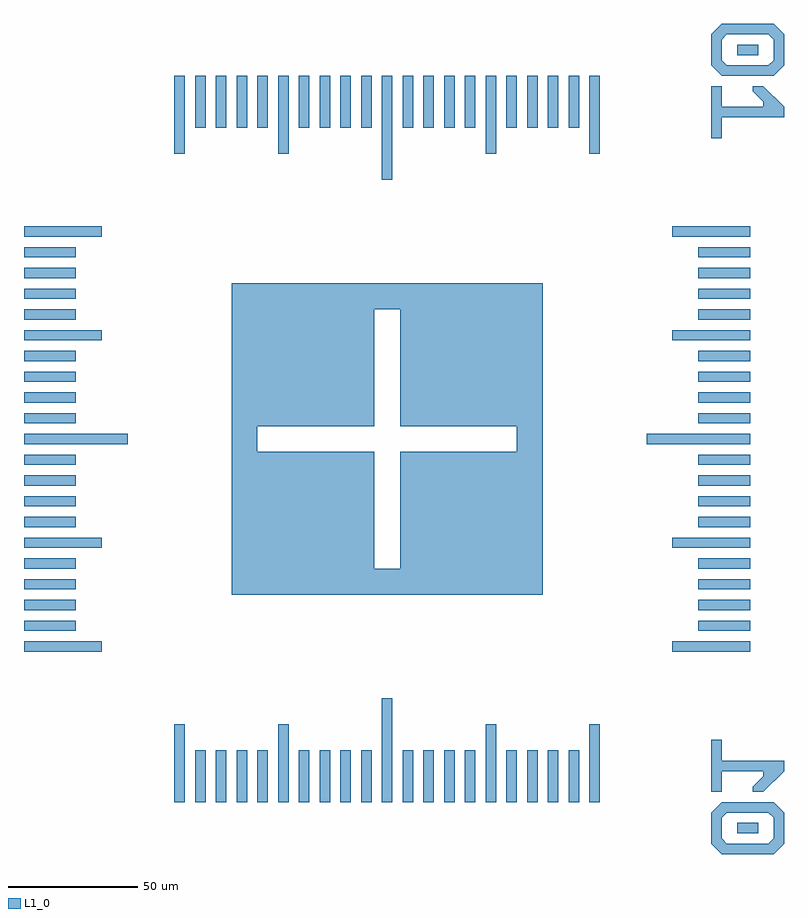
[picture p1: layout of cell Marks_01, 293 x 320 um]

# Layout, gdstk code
import gdstk
lib = gdstk.Library(unit=1e-6, precision=1e-09)
def R(c, l, rs):  # rectangles x0, y0, x1, y1
    for r in rs: c.add(gdstk.rectangle(r[:2], r[2:], *l))
def A(c, l, x, y, w, h, nx, ny, dx, dy):  # array of equal rectangles
    R(c, l, [(x+i*dx, y+j*dy, x+i*dx+w, y+j*dy+h) for i in range(nx) for j in range(ny)])
def P(c, l, *ps):  # polygons
    for p in ps: c.add(gdstk.Polygon(p, *l))
L1_0 = (1, 0)

label_01 = lib.new_cell('Label_01')
R(label_01, L1_0, [(10,-12,18,-8)])
P(label_01, L1_0, [(4,-20),(0,-16),(0,-4),(4,0),(24,0),(24,-6),(22,-4),(6,-4),(4,-6),(4,-14),(6,-16),(22,-16),(24,-14),(24,0),(28,-4),(28,-16),(24,-20)],
  [(0,-44),(0,-24),(4,-24),(4,-32),(20,-32),(20,-30),(16,-26),(16,-24),(20,-24),(28,-32),(28,-36),(4,-36),(4,-44)])

marks_01 = lib.new_cell('Marks_01')
A(marks_01, L1_0, -74, -140, 4, 20, 4, 2, 8, 260)
A(marks_01, L1_0, -34, -140, 4, 20, 4, 2, 8, 260)
A(marks_01, L1_0, 6, -140, 4, 20, 4, 2, 8, 260)
A(marks_01, L1_0, 46, -140, 4, 20, 4, 2, 8, 260)
A(marks_01, L1_0, -140, -74, 20, 4, 1, 4, 0, 8)
A(marks_01, L1_0, 120, -74, 20, 4, 1, 4, 0, 8)
A(marks_01, L1_0, -140, -34, 20, 4, 1, 4, 0, 8)
A(marks_01, L1_0, 120, -34, 20, 4, 1, 4, 0, 8)
A(marks_01, L1_0, -140, 6, 20, 4, 1, 4, 0, 8)
A(marks_01, L1_0, 120, 6, 20, 4, 1, 4, 0, 8)
A(marks_01, L1_0, -140, 46, 20, 4, 1, 4, 0, 8)
A(marks_01, L1_0, 120, 46, 20, 4, 1, 4, 0, 8)
R(marks_01, L1_0, [(-82,-140,-78,-110), (-42,-140,-38,-110), (-2,-140,2,-100), (38,-140,42,-110), (78,-140,82,-110), (-140,-82,-110,-78), (110,-82,140,-78), (-140,-42,-110,-38), (110,-42,140,-38), (-140,-2,-100,2), (100,-2,140,2), (-140,38,-110,42), (110,38,140,42), (-140,78,-110,82), (110,78,140,82), (-2,100,2,140), (-82,110,-78,140), (-42,110,-38,140), (38,110,42,140), (78,110,82,140)])
P(marks_01, L1_0, [(-60,-60),(-60,60),(50,60),(50,5),(5,5),(5,50),(-5,50),(-5,5),(-50,5),(-50,-5),(-5,-5),(-5,-50),(5,-50),(5,-5),(50,-5),(50,60),(60,60),(60,-60)])
marks_01.add(gdstk.Reference(label_01, (125,160)))
marks_01.add(gdstk.Reference(label_01, (125,-160), x_reflection=True))

lib.write_gds('Marks_01.gds')
